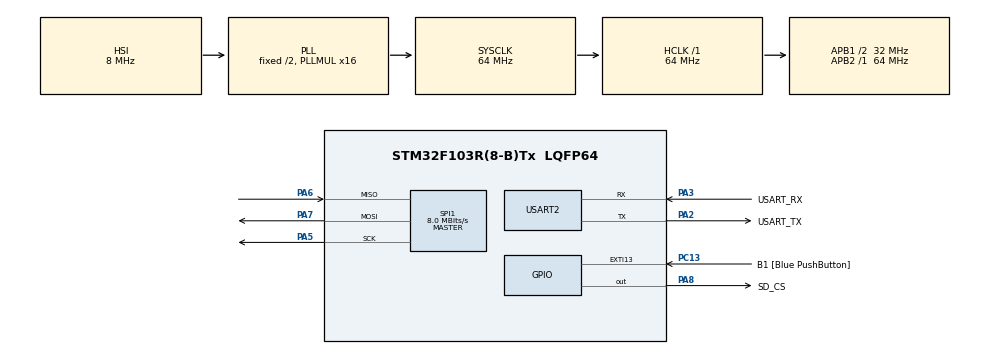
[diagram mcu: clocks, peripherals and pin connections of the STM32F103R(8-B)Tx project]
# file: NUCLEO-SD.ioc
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FATFS._MAX_SS=4096
FATFS._USE_LFN=1
Mcu.Family=STM32F1
Mcu.Name=STM32F103R(8-B)Tx
Mcu.Package=LQFP64
NVIC.EXTI15_10_IRQn=true\:0\:0\:false\:false\:true\:true\:true\:true
NVIC.PriorityGroup=NVIC_PRIORITYGROUP_4
PA13.GPIO_Label=TMS
PA13.Mode=Serial_Wire
PA13.Signal=SYS_JTMS-SWDIO
PA14.GPIO_Label=TCK
PA14.Mode=Serial_Wire
PA14.Signal=SYS_JTCK-SWCLK
PA2.GPIO_Label=USART_TX
PA2.GPIO_Mode=GPIO_MODE_AF_PP
PA2.GPIO_PuPd=GPIO_NOPULL
PA2.GPIO_Speed=GPIO_SPEED_FREQ_LOW
PA2.Mode=Asynchronous
PA2.Signal=USART2_TX
PA3.GPIO_Label=USART_RX
PA3.GPIO_Mode=GPIO_MODE_AF_PP
PA3.GPIO_PuPd=GPIO_NOPULL
PA3.GPIO_Speed=GPIO_SPEED_FREQ_LOW
PA3.Mode=Asynchronous
PA3.Signal=USART2_RX
PA5.Mode=Full_Duplex_Master
PA5.Signal=SPI1_SCK
PA6.Mode=Full_Duplex_Master
PA6.Signal=SPI1_MISO
PA7.Mode=Full_Duplex_Master
PA7.Signal=SPI1_MOSI
PA8.GPIO_Label=SD_CS
PA8.Signal=GPIO_Output
PB3.GPIO_Label=SWO
PB3.Signal=SYS_JTDO-TRACESWO
PC13-TAMPER-RTC.GPIO_Label=B1 [Blue PushButton]
PC13-TAMPER-RTC.GPIO_PuPd=GPIO_NOPULL
PC13-TAMPER-RTC.Signal=GPXTI13
PC14-OSC32_IN.Mode=LSE-External-Oscillator
PC14-OSC32_IN.Signal=RCC_OSC32_IN
PC15-OSC32_OUT.Mode=LSE-External-Oscillator
PC15-OSC32_OUT.Signal=RCC_OSC32_OUT
PD0-OSC_IN.Mode=HSE-External-Clock-Source
PD0-OSC_IN.Signal=RCC_OSC_IN
PD1-OSC_OUT.Mode=HSE-External-Clock-Source
PD1-OSC_OUT.Signal=RCC_OSC_OUT
ProjectManager.HeapSize=0x200
ProjectManager.StackSize=0x400
ProjectManager.TargetToolchain=STM32CubeIDE
RCC.AHBFreq_Value=64000000
RCC.APB1CLKDivider=RCC_HCLK_DIV2
RCC.APB1Freq_Value=32000000
RCC.APB1TimFreq_Value=64000000
RCC.APB2Freq_Value=64000000
RCC.APB2TimFreq_Value=64000000
RCC.HCLKFreq_Value=64000000
RCC.PLLMUL=RCC_PLL_MUL16
RCC.RTCClockSelection=RCC_RTCCLKSOURCE_LSE
RCC.SYSCLKFreq_VALUE=64000000
RCC.SYSCLKSource=RCC_SYSCLKSOURCE_PLLCLK
RCC.USBFreq_Value=64000000
SPI1.BaudRatePrescaler=SPI_BAUDRATEPRESCALER_8
SPI1.CalculateBaudRate=8.0 MBits/s
SPI1.Direction=SPI_DIRECTION_2LINES
SPI1.Mode=SPI_MODE_MASTER
SPI1.VirtualType=VM_MASTER
USART2.VirtualMode=VM_ASYNC
VP_FATFS_VS_Generic.Mode=User_defined
board=NUCLEO-F103RB

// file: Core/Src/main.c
/* USER CODE BEGIN Header */
/**
  ******************************************************************************
  * @file           : main.c
  * @brief          : Main program body
  ******************************************************************************
  * @attention
  *
  * Copyright (c) 2022 STMicroelectronics.
  * All rights reserved.
  *
  * This software is licensed under terms that can be found in the LICENSE file
  * in the root directory of this software component.
  * If no LICENSE file comes with this software, it is provided AS-IS.
  *
  ******************************************************************************
  */
/* USER CODE END Header */
#include "main.h"
#include "fatfs.h"

/* USER CODE BEGIN Includes */
#include "fatfs_sd.h"
#include "string.h"
/* USER CODE END Includes */

SPI_HandleTypeDef hspi1;

UART_HandleTypeDef huart2;

/* USER CODE BEGIN PV */
FATFS fs;
FATFS *pfs;
FIL fil;
FRESULT fres;
DWORD fre_clust;
uint32_t total, free_space;
char buffer[100];
/* USER CODE END PV */

void SystemClock_Config(void);
static void MX_GPIO_Init(void);
static void MX_USART2_UART_Init(void);
static void MX_SPI1_Init(void);

/* USER CODE BEGIN 0 */
void send_message (char* message)
{
	HAL_UART_Transmit(&huart2, (uint8_t*)message, strlen(message), 1000);
	while(1)
	{

	}
}
/* USER CODE END 0 */

int main(void)
{

  /* MCU Configuration--------------------------------------------------------*/

  /* Reset of all peripherals, Initializes the Flash interface and the Systick. */
  HAL_Init();

  /* Configure the system clock */
  SystemClock_Config();

  /* Initialize all configured peripherals */
  MX_GPIO_Init();
  MX_USART2_UART_Init();
  MX_FATFS_Init();
  MX_SPI1_Init();
  /* USER CODE BEGIN 2 */
  /* Mount SD Card */
   FRESULT fres = f_mount(&fs, "/", 0);
     if(fres != FR_OK)
       send_message("mount failed");

     /* Open file to write */
     fres = f_open(&fil, "first.txt", FA_OPEN_ALWAYS | FA_READ | FA_WRITE);
     HAL_Delay(2000);
     if(fres != FR_OK)
     	send_message("file opening failed!\n");

     /* Check free space */
     if(f_getfree("", &fre_clust, &pfs) != FR_OK)
     	send_message("checking free space failed");

     total = (uint32_t)((pfs->n_fatent - 2) * pfs->csize * 0.5);
     free_space = (uint32_t)(fre_clust * pfs->csize * 0.5);

     /* Free space is less than 1kb */
     if(free_space < 1)
     	send_message("free space less than 1kb");

     /* Writing text */
     f_puts("STM32 SD Card I/O Example via SPI\n", &fil);
     f_puts("Save the world!!!", &fil);

     /* Close file */
     if(f_close(&fil) != FR_OK)
     	send_message("closing file failed");

     /* Unmount SDCARD */
     if(f_mount(NULL, "", 1) != FR_OK)
     	send_message("Unmounting failed");

  /* USER CODE END 2 */

  /* Infinite loop */
  while (1)
  {

  }
}

void SystemClock_Config(void)
{
  RCC_OscInitTypeDef RCC_OscInitStruct = {0};
  RCC_ClkInitTypeDef RCC_ClkInitStruct = {0};

  /** Initializes the RCC Oscillators according to the specified parameters
  * in the RCC_OscInitTypeDef structure.
  */
  RCC_OscInitStruct.OscillatorType = RCC_OSCILLATORTYPE_HSI;
  RCC_OscInitStruct.HSIState = RCC_HSI_ON;
  RCC_OscInitStruct.HSICalibrationValue = RCC_HSICALIBRATION_DEFAULT;
  RCC_OscInitStruct.PLL.PLLState = RCC_PLL_ON;
  RCC_OscInitStruct.PLL.PLLSource = RCC_PLLSOURCE_HSI_DIV2;
  RCC_OscInitStruct.PLL.PLLMUL = RCC_PLL_MUL16;
  if (HAL_RCC_OscConfig(&RCC_OscInitStruct) != HAL_OK)
  {
    Error_Handler();
  }

  /** Initializes the CPU, AHB and APB buses clocks
  */
  RCC_ClkInitStruct.ClockType = RCC_CLOCKTYPE_HCLK|RCC_CLOCKTYPE_SYSCLK
                              |RCC_CLOCKTYPE_PCLK1|RCC_CLOCKTYPE_PCLK2;
  RCC_ClkInitStruct.SYSCLKSource = RCC_SYSCLKSOURCE_PLLCLK;
  RCC_ClkInitStruct.AHBCLKDivider = RCC_SYSCLK_DIV1;
  RCC_ClkInitStruct.APB1CLKDivider = RCC_HCLK_DIV2;
  RCC_ClkInitStruct.APB2CLKDivider = RCC_HCLK_DIV1;

  if (HAL_RCC_ClockConfig(&RCC_ClkInitStruct, FLASH_LATENCY_2) != HAL_OK)
  {
    Error_Handler();
  }
}

static void MX_SPI1_Init(void)
{

  /* SPI1 parameter configuration*/
  hspi1.Instance = SPI1;
  hspi1.Init.Mode = SPI_MODE_MASTER;
  hspi1.Init.Direction = SPI_DIRECTION_2LINES;
  hspi1.Init.DataSize = SPI_DATASIZE_8BIT;
  hspi1.Init.CLKPolarity = SPI_POLARITY_LOW;
  hspi1.Init.CLKPhase = SPI_PHASE_1EDGE;
  hspi1.Init.NSS = SPI_NSS_SOFT;
  hspi1.Init.BaudRatePrescaler = SPI_BAUDRATEPRESCALER_8;
  hspi1.Init.FirstBit = SPI_FIRSTBIT_MSB;
  hspi1.Init.TIMode = SPI_TIMODE_DISABLE;
  hspi1.Init.CRCCalculation = SPI_CRCCALCULATION_DISABLE;
  hspi1.Init.CRCPolynomial = 10;
  if (HAL_SPI_Init(&hspi1) != HAL_OK)
  {
    Error_Handler();
  }

}

static void MX_USART2_UART_Init(void)
{

  huart2.Instance = USART2;
  huart2.Init.BaudRate = 115200;
  huart2.Init.WordLength = UART_WORDLENGTH_8B;
  huart2.Init.StopBits = UART_STOPBITS_1;
  huart2.Init.Parity = UART_PARITY_NONE;
  huart2.Init.Mode = UART_MODE_TX_RX;
  huart2.Init.HwFlowCtl = UART_HWCONTROL_NONE;
  huart2.Init.OverSampling = UART_OVERSAMPLING_16;
  if (HAL_UART_Init(&huart2) != HAL_OK)
  {
    Error_Handler();
  }

}

static void MX_GPIO_Init(void)
{
  GPIO_InitTypeDef GPIO_InitStruct = {0};

  /* GPIO Ports Clock Enable */
  __HAL_RCC_GPIOC_CLK_ENABLE();
  __HAL_RCC_GPIOD_CLK_ENABLE();
  __HAL_RCC_GPIOA_CLK_ENABLE();
  __HAL_RCC_GPIOB_CLK_ENABLE();

  /*Configure GPIO pin Output Level */
  HAL_GPIO_WritePin(SD_CS_GPIO_Port, SD_CS_Pin, GPIO_PIN_RESET);

  /*Configure GPIO pin : B1_Pin */
  GPIO_InitStruct.Pin = B1_Pin;
  GPIO_InitStruct.Mode = GPIO_MODE_IT_RISING;
  GPIO_InitStruct.Pull = GPIO_NOPULL;
  HAL_GPIO_Init(B1_GPIO_Port, &GPIO_InitStruct);

  /*Configure GPIO pin : SD_CS_Pin */
  GPIO_InitStruct.Pin = SD_CS_Pin;
  GPIO_InitStruct.Mode = GPIO_MODE_OUTPUT_PP;
  GPIO_InitStruct.Pull = GPIO_NOPULL;
  GPIO_InitStruct.Speed = GPIO_SPEED_FREQ_LOW;
  HAL_GPIO_Init(SD_CS_GPIO_Port, &GPIO_InitStruct);

  /* EXTI interrupt init*/
  HAL_NVIC_SetPriority(EXTI15_10_IRQn, 0, 0);
  HAL_NVIC_EnableIRQ(EXTI15_10_IRQn);

}

void Error_Handler(void)
{
  __disable_irq();
  while (1)
  {
  }
}
